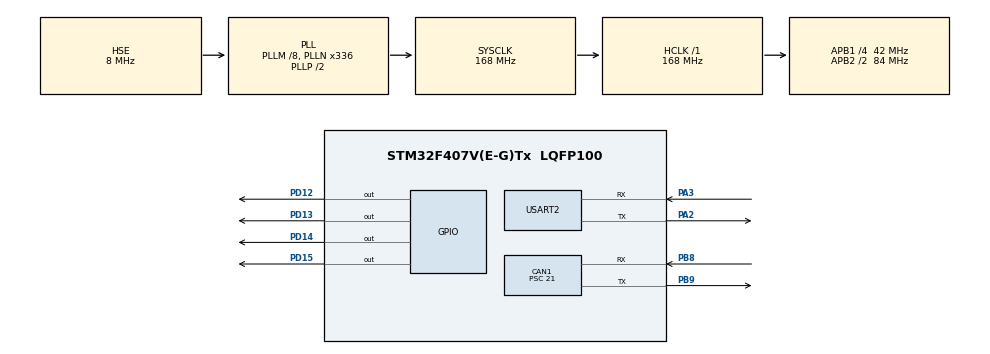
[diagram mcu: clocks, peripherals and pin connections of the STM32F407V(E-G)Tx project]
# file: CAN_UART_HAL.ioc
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CAN1.BS1=CAN_BS1_12TQ
CAN1.BS2=CAN_BS2_4TQ
CAN1.CalculateBaudRate=117647
CAN1.CalculateTimeBit=8500
CAN1.CalculateTimeQuantum=500.0
CAN1.Prescaler=21
Mcu.Family=STM32F4
Mcu.Name=STM32F407V(E-G)Tx
Mcu.Package=LQFP100
NVIC.CAN1_RX0_IRQn=true\:0\:2\:false\:false\:true\:true\:true
NVIC.PriorityGroup=NVIC_PRIORITYGROUP_0
NVIC.USART2_IRQn=true\:0\:0\:false\:false\:true\:true\:true
PA2.Mode=Asynchronous
PA2.Signal=USART2_TX
PA3.Mode=Asynchronous
PA3.Signal=USART2_RX
PB8.Mode=CAN_Activate
PB8.Signal=CAN1_RX
PB9.Mode=CAN_Activate
PB9.Signal=CAN1_TX
PD12.Signal=GPIO_Output
PD13.Signal=GPIO_Output
PD14.Signal=GPIO_Output
PD15.Signal=GPIO_Output
PH0-OSC_IN.Mode=HSE-External-Oscillator
PH0-OSC_IN.Signal=RCC_OSC_IN
PH1-OSC_OUT.Mode=HSE-External-Oscillator
PH1-OSC_OUT.Signal=RCC_OSC_OUT
ProjectManager.HeapSize=0x200
ProjectManager.StackSize=0x400
ProjectManager.TargetToolchain=MDK-ARM V5
RCC.48MHZClocksFreq_Value=48000000
RCC.AHBFreq_Value=168000000
RCC.APB1CLKDivider=RCC_HCLK_DIV4
RCC.APB1Freq_Value=42000000
RCC.APB1TimFreq_Value=84000000
RCC.APB2CLKDivider=RCC_HCLK_DIV2
RCC.APB2Freq_Value=84000000
RCC.APB2TimFreq_Value=168000000
RCC.CortexFreq_Value=168000000
RCC.HCLKFreq_Value=168000000
RCC.HSE_VALUE=8000000
RCC.HSI_VALUE=16000000
RCC.LSE_VALUE=32768
RCC.PLLM=8
RCC.PLLN=336
RCC.PLLQ=7
RCC.PLLSourceVirtual=RCC_PLLSOURCE_HSE
RCC.SYSCLKFreq_VALUE=168000000
RCC.SYSCLKSource=RCC_SYSCLKSOURCE_PLLCLK
RCC.VCOOutputFreq_Value=336000000
USART2.VirtualMode=VM_ASYNC
board=STM32F407G-DISC1

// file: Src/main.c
/* USER CODE BEGIN Header */
/**
  ******************************************************************************
  * @file           : main.c
  * @brief          : Main program body
  ******************************************************************************
  * @attention
  *
  * <h2><center>&copy; Copyright (c) 2021 STMicroelectronics.
  * All rights reserved.</center></h2>
  *
  * This software component is licensed by ST under BSD 3-Clause license,
  * the "License"; You may not use this file except in compliance with the
  * License. You may obtain a copy of the License at:
  *                        opensource.org/licenses/BSD-3-Clause
  *
  ******************************************************************************
  */
/* USER CODE END Header */
#include "main.h"

/* USER CODE BEGIN Includes */
#include "math.h"
#include "stdio.h"
#include "string.h"
/* USER CODE END Includes */

/* USER CODE BEGIN PD */
CAN_HandleTypeDef hcan1;
/* USER CODE END PD */

CAN_HandleTypeDef hcan1;

UART_HandleTypeDef huart2;

/* USER CODE BEGIN PV */
CAN_HandleTypeDef hcan1;
CAN_TxHeaderTypeDef TxHeader; //declare a specific header for message transmitions
CAN_RxHeaderTypeDef RxHeader; //declare header for message reception
uint32_t TxMailbox;

/*uint8_t TxData[5];
uint8_t RxData[5];*/

uint8_t TxData[7];

uint8_t RxData[8];

uint8_t Data[2];
double time;
uint16_t temp;
uint8_t temp2[1];
double voltage;
double current;
double temperature;
double angle;
double check;

char str[100];

uint8_t flag=0;

uint16_t checksum;

CAN_FilterTypeDef sFilterConfig; //declare CAN filter structure
/* USER CODE END PV */

void SystemClock_Config(void);
static void MX_GPIO_Init(void);
static void MX_CAN1_Init(void);
static void MX_USART2_UART_Init(void);
/* USER CODE BEGIN PFP */
void CAN_Tx(uint8_t *Data);
void CAN_Tx_Remote(uint8_t ID, uint8_t Length);
/* USER CODE END PFP */

int main(void)
{

  /* MCU Configuration--------------------------------------------------------*/

  /* Reset of all peripherals, Initializes the Flash interface and the Systick. */
  HAL_Init();

  /* Configure the system clock */
  SystemClock_Config();

  /* Initialize all configured peripherals */
  MX_GPIO_Init();
  MX_CAN1_Init();
  MX_USART2_UART_Init();
  /* USER CODE BEGIN 2 */
	HAL_UART_Receive_IT (&huart2, RxData, 2);

//	TxHeader.DLC=7; //give message size of 1 byte
//	TxHeader.IDE=CAN_ID_STD; //set identifier to standard
//	TxHeader.RTR=CAN_RTR_DATA; //set data type to remote transmission request?
//	TxHeader.StdId=0x245; //define a standard identifier, used for message identification by filters (switch this for the other microcontroller)
//	TxHeader.StdId=10;

	//filter one (stack light blink)
	sFilterConfig.FilterFIFOAssignment=CAN_FILTER_FIFO0; //set fifo assignment
	sFilterConfig.FilterIdHigh=10<<5; //the ID that the filter looks for (switch this for the other microcontroller)
	sFilterConfig.FilterIdLow=0;
	sFilterConfig.FilterMaskIdHigh=0;
	sFilterConfig.FilterMaskIdLow=0;
	sFilterConfig.FilterScale=CAN_FILTERSCALE_32BIT; //set filter scale
	sFilterConfig.FilterActivation=ENABLE;
	HAL_CAN_ConfigFilter(&hcan1, &sFilterConfig); //configure CAN filter

	HAL_CAN_Start(&hcan1); //start CAN
	HAL_CAN_ActivateNotification(&hcan1, CAN_IT_RX_FIFO0_MSG_PENDING); //enable interrupts

//  TxData[0]='P';
//	TxData[1]='W';
//	TxData[2]='M';

//  TxData[0]=0x80;
//	TxData[1]=0x87;
//	TxData[2]=0x77;

//	TxData[0]=0x80;
//	TxData[1]=0x87;
//	TxData[2]=0x77;
  /* USER CODE END 2 */

  /* Infinite loop */
  /* USER CODE BEGIN WHILE */
  while (1)
  {
//		time =HAL_GetTick();
//		temp=(uint16_t)(sin(time/500)*500 + 1500);
		temp = 1500;
		Data[0]= temp>>8;
		Data[1]= (uint8_t)(temp&0xFF);

		if(HAL_CAN_GetTxMailboxesFreeLevel(&hcan1)>0)
		{
		CAN_Tx(Data);
		CAN_Tx_Remote(10, 8);
		HAL_Delay(1);
		}
		else{
		HAL_GPIO_TogglePin(GPIOD, GPIO_PIN_12);
		}

//		temp2[0]=HAL_CAN_GetRxFifoFillLevel(&hcan1, CAN_RX_FIFO0);
//		HAL_UART_Transmit(&huart2, temp2, sizeof(temp2), 10);
//		HAL_Delay(5000);
//		temp2[0]=HAL_CAN_GetTxMailboxesFreeLevel(&hcan1);
	//	HAL_UART_Transmit(&huart2, RxData, sizeof(RxData), 10);

//		if(flag==0)
//		{
//		Data[0]=0x05;
//		Data[1]=0xDC;

//		CAN_Tx(Data);
//		}
//
//		if(flag==1)
//		{
//		Data[0]=0x03;
//		Data[1]=0x84;
//		CAN_Tx(Data);
//		}
//		HAL_Delay(50);
//		if(flag==0)
//			flag=1;
//		else
//			flag=0;

    /* USER CODE END WHILE */

  }
}

void SystemClock_Config(void)
{
  RCC_OscInitTypeDef RCC_OscInitStruct = {0};
  RCC_ClkInitTypeDef RCC_ClkInitStruct = {0};

  /** Configure the main internal regulator output voltage
  */
  __HAL_RCC_PWR_CLK_ENABLE();
  __HAL_PWR_VOLTAGESCALING_CONFIG(PWR_REGULATOR_VOLTAGE_SCALE1);
  /** Initializes the RCC Oscillators according to the specified parameters
  * in the RCC_OscInitTypeDef structure.
  */
  RCC_OscInitStruct.OscillatorType = RCC_OSCILLATORTYPE_HSE;
  RCC_OscInitStruct.HSEState = RCC_HSE_ON;
  RCC_OscInitStruct.PLL.PLLState = RCC_PLL_ON;
  RCC_OscInitStruct.PLL.PLLSource = RCC_PLLSOURCE_HSE;
  RCC_OscInitStruct.PLL.PLLM = 8;
  RCC_OscInitStruct.PLL.PLLN = 336;
  RCC_OscInitStruct.PLL.PLLP = RCC_PLLP_DIV2;
  RCC_OscInitStruct.PLL.PLLQ = 7;
  if (HAL_RCC_OscConfig(&RCC_OscInitStruct) != HAL_OK)
  {
    Error_Handler();
  }
  /** Initializes the CPU, AHB and APB buses clocks
  */
  RCC_ClkInitStruct.ClockType = RCC_CLOCKTYPE_HCLK|RCC_CLOCKTYPE_SYSCLK
                              |RCC_CLOCKTYPE_PCLK1|RCC_CLOCKTYPE_PCLK2;
  RCC_ClkInitStruct.SYSCLKSource = RCC_SYSCLKSOURCE_PLLCLK;
  RCC_ClkInitStruct.AHBCLKDivider = RCC_SYSCLK_DIV1;
  RCC_ClkInitStruct.APB1CLKDivider = RCC_HCLK_DIV4;
  RCC_ClkInitStruct.APB2CLKDivider = RCC_HCLK_DIV2;

  if (HAL_RCC_ClockConfig(&RCC_ClkInitStruct, FLASH_LATENCY_5) != HAL_OK)
  {
    Error_Handler();
  }
}

static void MX_CAN1_Init(void)
{

  hcan1.Instance = CAN1;
  hcan1.Init.Prescaler = 3;
	//hcan1.Init.Prescaler = 6;

  hcan1.Init.Mode = CAN_MODE_NORMAL;
	//hcan1.Init.Mode = CAN_MODE_LOOPBACK;
  hcan1.Init.SyncJumpWidth = CAN_SJW_1TQ;
  //hcan1.Init.TimeSeg1 = CAN_BS1_12TQ;
	hcan1.Init.TimeSeg1 = CAN_BS1_11TQ;
  //hcan1.Init.TimeSeg2 = CAN_BS2_4TQ;
	hcan1.Init.TimeSeg2 = CAN_BS2_2TQ;
  hcan1.Init.TimeTriggeredMode = DISABLE;
  hcan1.Init.AutoBusOff = DISABLE;
  hcan1.Init.AutoWakeUp = DISABLE;
//  hcan1.Init.AutoRetransmission = DISABLE;
	hcan1.Init.AutoRetransmission = ENABLE;
  hcan1.Init.ReceiveFifoLocked = DISABLE;
  hcan1.Init.TransmitFifoPriority = DISABLE;
  if (HAL_CAN_Init(&hcan1) != HAL_OK)
  {
    Error_Handler();
  }

}

static void MX_USART2_UART_Init(void)
{

  huart2.Instance = USART2;
  huart2.Init.BaudRate = 115200;
  huart2.Init.WordLength = UART_WORDLENGTH_8B;
  huart2.Init.StopBits = UART_STOPBITS_1;
  huart2.Init.Parity = UART_PARITY_NONE;
  huart2.Init.Mode = UART_MODE_TX_RX;
  huart2.Init.HwFlowCtl = UART_HWCONTROL_NONE;
  huart2.Init.OverSampling = UART_OVERSAMPLING_16;
  if (HAL_UART_Init(&huart2) != HAL_OK)
  {
    Error_Handler();
  }

}

static void MX_GPIO_Init(void)
{
  GPIO_InitTypeDef GPIO_InitStruct = {0};

  /* GPIO Ports Clock Enable */
  __HAL_RCC_GPIOH_CLK_ENABLE();
  __HAL_RCC_GPIOA_CLK_ENABLE();
  __HAL_RCC_GPIOD_CLK_ENABLE();
  __HAL_RCC_GPIOB_CLK_ENABLE();

  /*Configure GPIO pin Output Level */
  HAL_GPIO_WritePin(GPIOD, GPIO_PIN_12|GPIO_PIN_13|GPIO_PIN_14|GPIO_PIN_15, GPIO_PIN_RESET);

  /*Configure GPIO pins : PD12 PD13 PD14 PD15 */
  GPIO_InitStruct.Pin = GPIO_PIN_12|GPIO_PIN_13|GPIO_PIN_14|GPIO_PIN_15;
  GPIO_InitStruct.Mode = GPIO_MODE_OUTPUT_PP;
  GPIO_InitStruct.Pull = GPIO_NOPULL;
  GPIO_InitStruct.Speed = GPIO_SPEED_FREQ_LOW;
  HAL_GPIO_Init(GPIOD, &GPIO_InitStruct);

}

/* USER CODE BEGIN 4 */
void HAL_UART_RxCpltCallback(UART_HandleTypeDef *huart)
{
//	//HAL_UART_Receive_IT(&huart2, RxData, 2);
////for(int i=3;i<7;i++){
////	TxData[i]=RxData[i];
////}
//	TxData[0]=0x80;
//	TxData[1]=0x87;
//	TxData[2]=0x77;
//
//  TxData[3]=RxData[0];
//	TxData[4]=RxData[1];
//
////	TxData[3]=0x08;
////	TxData[4]=0x34;
//
//	checksum= TxData[0]+TxData[1]+TxData[2]+TxData[3]+TxData[4];
//	TxData[5]=checksum>>8;
//	TxData[6]=(uint8_t)checksum;
//
////	TxData[0]=0x80;
////	TxData[1]=0x87;
////	TxData[2]=0x77;
//
////	TxData[3]=0x08;
////	TxData[4]=0x34;
////	TxData[5]=0x01;
////	TxData[6]=0xBA;
//
////	TxData[5]=0x01;
////	TxData[6]=0xBA;
//	//HAL_UART_Transmit(&huart2, TxData, sizeof(TxData), 10);
//		HAL_CAN_AddTxMessage(&hcan1, &TxHeader, TxData, &TxMailbox);  //function to add message for transmition
//
////		HAL_UART_Receive_IT(&huart2, RxData, 2);
    CAN_Tx(RxData);
		HAL_UART_Receive_IT (&huart2, RxData, 2);

}

void HAL_CAN_RxFifo0MsgPendingCallback(CAN_HandleTypeDef *hcan)
{
  if (HAL_CAN_GetRxMessage(&hcan1, CAN_RX_FIFO0, &RxHeader, RxData) != HAL_OK)
  {
    Error_Handler();
  }
//	HAL_UART_Transmit(&huart2, RxData, sizeof(RxData), 100);
				HAL_GPIO_TogglePin(GPIOD, GPIO_PIN_14);

				angle=((double)(((int16_t)RxData[0])<<8 | (int16_t)RxData[1])-1800)/10.0;
				voltage=(double)RxData[2]/5;
				current=(double)RxData[3]/10;
				temperature=(double)RxData[4] - 60;
				check=(double)(((int16_t)RxData[6])<<8 | (int16_t)RxData[7]);
				temp2[0]=voltage;
				sprintf(str,"Angl: %.2f\nvolt: %.2f\ncurr: %.2f\nTemp: %.2f\nCheck: %.2f\n",angle,voltage,current,temperature,check);
				HAL_UART_Transmit(&huart2, (uint8_t *)str, 58, 10);
}

void CAN_Tx(uint8_t *Data)
{
	TxHeader.StdId=10;
	TxHeader.DLC=7; //give message size of 1 byte
	TxHeader.IDE=CAN_ID_STD; //set identifier to standard
	TxHeader.RTR=CAN_RTR_DATA; //set data type to remote transmission request?

  TxData[0]=0x80;
	TxData[1]=0x87;
	TxData[2]=0x77;

  TxData[3]=Data[0];
	TxData[4]=Data[1];

	checksum= TxData[0]+TxData[1]+TxData[2]+TxData[3]+TxData[4];
	TxData[5]=checksum>>8;
	TxData[6]=(uint8_t)checksum;
//	HAL_CAN_AddTxMessage(&hcan1, &TxHeader, TxData, &TxMailbox);

	if (HAL_CAN_AddTxMessage(&hcan1, &TxHeader, TxData, &TxMailbox) != HAL_OK)
	HAL_GPIO_WritePin(GPIOD, GPIO_PIN_13,GPIO_PIN_SET);

	while(HAL_CAN_IsTxMessagePending(&hcan1, TxMailbox));
}

void CAN_Tx_Remote(uint8_t ID, uint8_t Length)
{
	TxHeader.StdId=ID;
	TxHeader.DLC=Length; //give message size of 1 byte
	TxHeader.IDE=CAN_ID_STD; //set identifier to standard
	TxHeader.RTR=CAN_RTR_REMOTE; //set data type to remote transmission request?

//  TxData[0]=0x80;
//	TxData[1]=0x87;
//	TxData[2]=0x77;
//
//  TxData[3]=Data[0];
//	TxData[4]=Data[1];
//
//	checksum= TxData[0]+TxData[1]+TxData[2]+TxData[3]+TxData[4];
//	TxData[5]=checksum>>8;
//	TxData[6]=(uint8_t)checksum;
//	HAL_CAN_AddTxMessage(&hcan1, &TxHeader, TxData, &TxMailbox);

	if (HAL_CAN_AddTxMessage(&hcan1, &TxHeader, 0, &TxMailbox) != HAL_OK)
	HAL_GPIO_WritePin(GPIOD, GPIO_PIN_13,GPIO_PIN_SET);

	while(HAL_CAN_IsTxMessagePending(&hcan1, TxMailbox));
}
/* USER CODE END 4 */

void Error_Handler(void)
{
  __disable_irq();
  while (1)
  {
  }
}

/************************ (C) COPYRIGHT STMicroelectronics *****END OF FILE****/
